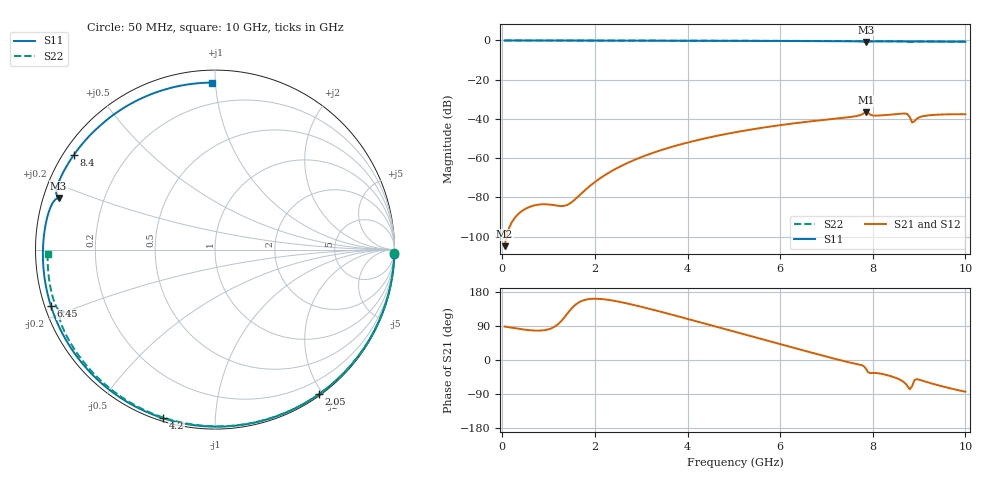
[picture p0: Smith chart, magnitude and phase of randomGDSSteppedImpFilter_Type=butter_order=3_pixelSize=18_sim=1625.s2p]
! freq	dB(S11)	phase(S11)	dB(S12)	phase(S12)
!  dB(S21)	phase(S21)	dB(S22)	phase(S22)
!S-par simulation data
#  GHz  S  DB  R 50
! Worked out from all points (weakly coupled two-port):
!   200 points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, 50 MHz to 10 GHz, reference 50 ohm
!   highest |S21| = -36.55 dB at 7.85 GHz (marker M1); lowest = -104.9 dB at 50 MHz (marker M2)
!   lowest |S11| = -0.7 dB at 7.85 GHz (marker M3), VSWR 23.24, Z = 2.21 + j8.02 ohm
!   |S11| at or under -10 dB: nowhere
!   |S22| runs from -0.8 to 0.0 dB; largest |S21 - S12| = 0
!   S11 on the Smith chart (normalised r, x): 50 MHz: 1, -83; 2.05 GHz: 0.02, -1.95; 4.2 GHz: 0.01, -0.74; 6.45 GHz: 0.02, -0.17; 8.4 GHz: 0.03, +0.31; 10 GHz: 0.07, +0.98
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0.05  -0.00 -1.4  -104.89 88.2  -104.89 88.2  -0.00 -1.0
0.8  -0.02 -21.6  -83.64 77.6  -83.64 77.6  -0.02 -15.9
1.6  -0.05 -42.7  -80.42 147.7  -80.42 147.7  -0.04 -31.6
1.75  -0.06 -46.6  -77.11 157.4  -77.11 157.4  -0.04 -34.5
2.05  -0.07 -54.3  -71.30 161.6  -71.30 161.6  -0.05 -40.2
2.65  -0.09 -69.5  -63.06 150.4  -63.06 150.4  -0.07 -51.6
3.4  -0.11 -87.9  -56.15 128.1  -56.15 128.1  -0.09 -65.4
4.2  -0.15 -107.2  -50.90 101.9  -50.90 101.9  -0.11 -79.7
5.05  -0.19 -127.3  -46.73 73.5  -46.73 73.5  -0.15 -94.4
5.8  -0.24 -145.1  -43.86 48.5  -43.86 48.5  -0.18 -107.0
6.45  -0.30 -161.1  -41.83 26.9  -41.83 26.9  -0.22 -117.8
6.7  -0.32 -167.4  -41.14 18.7  -41.14 18.7  -0.24 -122.0
7.6  -0.43 168.5  -38.75 -9.3  -38.75 -9.3  -0.31 -136.9
7.85  -0.75 161.7  -36.55 -22.4  -36.55 -22.4  -0.34 -141.1
8  -0.48 158.7  -38.25 -34.2  -38.25 -34.2  -0.35 -143.7
8.35  -0.47 147.6  -37.90 -41.3  -37.90 -41.3  -0.39 -149.8
8.4  -0.47 146.0  -37.80 -43.1  -37.80 -43.1  -0.39 -150.7
8.75  -0.51 134.9  -37.57 -68.9  -37.57 -68.9  -0.61 -157.7
8.85  -0.53 131.7  -41.82 -68.6  -41.82 -68.6  -0.82 -157.5
9  -0.54 126.7  -39.25 -51.8  -39.25 -51.8  -0.55 -159.7
9.15  -0.55 121.6  -38.34 -57.6  -38.34 -57.6  -0.52 -162.6
10  -0.63 90.9  -37.63 -83.8  -37.63 -83.8  -0.61 -178.6
